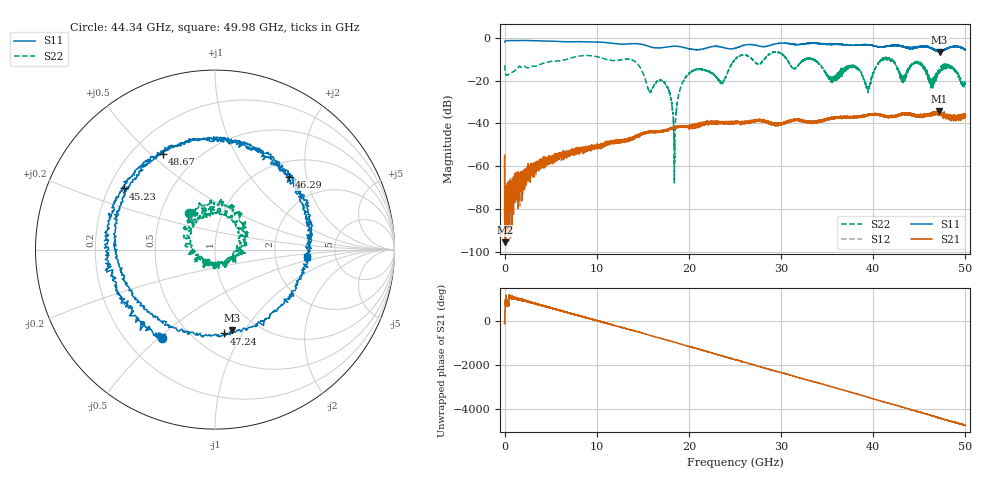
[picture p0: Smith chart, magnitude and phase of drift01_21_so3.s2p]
!Created with skrf (http://scikit-rf.org).
# Hz S RI R 50.0
!freq ReS11 ImS11 ReS21 ImS21 ReS12 ImS12 ReS22 ImS22
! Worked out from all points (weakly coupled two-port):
!   10001 points, 300 kHz to 50 GHz, reference 50 ohm
!   highest |S21| = -34.17 dB at 47.18 GHz (marker M1); lowest = -95.4 dB at 50.3 MHz (marker M2)
!   lowest |S11| = -6.8 dB at 47.2 GHz (marker M3), VSWR 2.69, Z = 38.8 - j44 ohm
!   |S11| at or under -10 dB: nowhere
!   |S22| runs from -67.7 to -6.7 dB; largest |S21 - S12| = 0.0052
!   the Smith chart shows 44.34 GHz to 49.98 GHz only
!   S11 on the Smith chart (normalised r, x): 44.34 GHz: 0.35, -0.51; 45.23 GHz: 0.26, +0.28; 46.29 GHz: 1.30, +1.59; 47.24 GHz: 0.70, -0.84; 48.67 GHz: 0.32, +0.55; 49.98 GHz: 3.09, -0.36
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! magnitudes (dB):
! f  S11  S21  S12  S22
! 300 kHz  -2.1  -54.8  -55.0  -12.9
! 50.3 MHz  -1.6  -95.4  -82.0  -15.1
! 280.3 MHz  -1.4  -89.7  -75.9  -17.5
! 8.335 GHz  -2.0  -52.4  -52.2  -8.5
! 16.67 GHz  -4.8  -44.0  -43.7  -19.9
! 17.74 GHz  -4.3  -42.8  -42.9  -23.7
! 18.43 GHz  -4.1  -41.5  -42.0  -60.5
! 19.89 GHz  -5.1  -41.5  -41.5  -17.2
! 23.6 GHz  -4.5  -39.6  -39.9  -20.7
! 25 GHz  -5.0  -39.1  -39.4  -10.3
! 33.34 GHz  -2.6  -39.3  -39.7  -10.0
! 39.36 GHz  -3.3  -36.2  -36.4  -23.3
! 41.67 GHz  -3.9  -36.8  -36.8  -10.0
! 44.34 GHz  -4.8  -35.7  -36.0  -12.0
! 45.23 GHz  -4.3  -36.8  -36.7  -12.4
! 46.29 GHz  -4.8  -35.8  -35.5  -21.9
! 47.18 GHz  -6.6  -34.2  -35.7  -14.4
! 47.2 GHz  -6.8  -35.6  -35.2  -14.4
! 47.24 GHz  -6.6  -35.0  -35.8  -15.3
! 48.67 GHz  -4.3  -37.3  -36.9  -14.1
! 49.98 GHz  -5.7  -37.2  -36.4  -21.4
! 50 GHz  -5.6  -36.8  -36.1  -21.9
